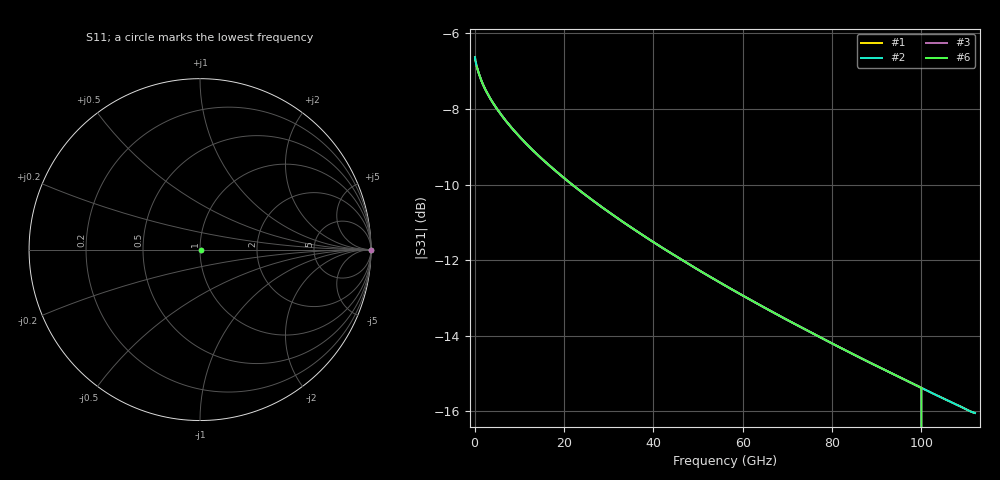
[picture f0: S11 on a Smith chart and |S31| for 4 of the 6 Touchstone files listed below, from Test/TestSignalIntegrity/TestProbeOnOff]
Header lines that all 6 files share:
! https://github.com/TeledyneLeCroy/SignalIntegrity
# MHz S MA R 50.0
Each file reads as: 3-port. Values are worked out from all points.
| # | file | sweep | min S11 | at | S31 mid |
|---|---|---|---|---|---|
| 1 | ProbeCircuit13.s3p | 100 MHz to 112 GHz | 0.0 dB | 100 MHz | -12.7 dB at 56.1 GHz |
| 2 | ProbeCircuit14.s3p | 100 MHz to 112 GHz | -45.8 dB | 400 MHz | -12.7 dB at 56.1 GHz |
| 3 | ProbeCircuit26.s3p | 500 MHz to 112 GHz | 0.0 dB | 500 MHz | -12.7 dB at 56.5 GHz |
| 4 | ProbeCircuit75.s3p | 100 MHz to 112 GHz | 0.0 dB | 100 MHz | -12.7 dB at 56.1 GHz |
| 5 | ProbeCircuit109.s3p | 500 MHz to 112 GHz | 0.0 dB | 500 MHz | -12.7 dB at 56.5 GHz |
| 6 | ProbeCircuit110.s3p | 500 MHz to 112 GHz | -45.8 dB | 500 MHz | -12.7 dB at 56.5 GHz |
